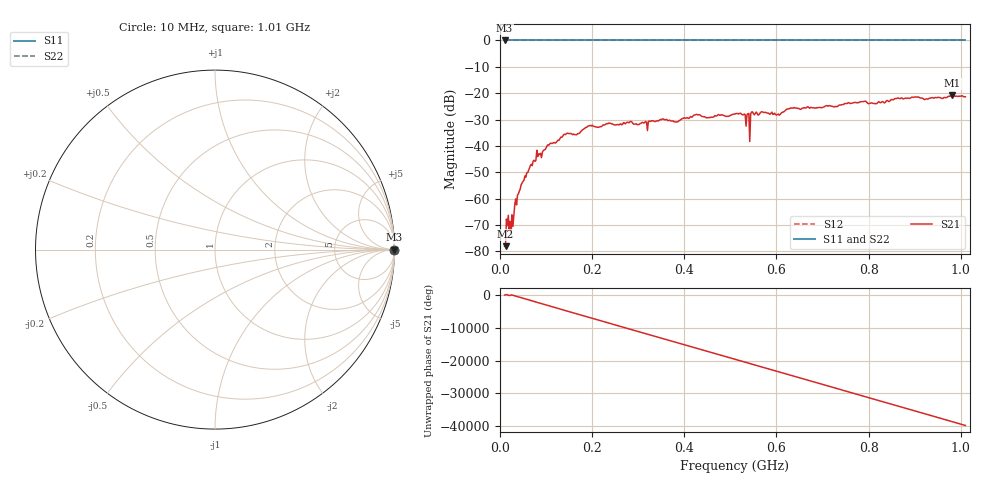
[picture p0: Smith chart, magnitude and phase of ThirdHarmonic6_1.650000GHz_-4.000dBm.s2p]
! 8/16/2025 7:44:59 PM
! C:\ANRITSUVNA\TEMP\TEMP.S2P
! CHANNEL.1
! TR.MEASUREMENT
! RAW.DATA
! RF.CORRECTION.OFF
! AVERAGING.OFF
! IF.BANDWIDTH: 5KHZ
! SWEEPTYPE:  FREQ.SWEEP(Linear)
! Reference Plane Port Info
! PORT:  PORT1  PORT2
! DISTANCE:  0  m  0  m
! TIME:  0  s  0  s
! PHASE.OFFSET:  0  deg.  0  deg.
! LOSS:  0  dB  0  dB
! REF.LOSS:  0  dB  0  dB
! REF.FREQ:  0  Hz  0  Hz
! Power Info
! POWER:  -20  dBm  -20  dBm
! EFF.POWER:  -20  dBm  -20  dBm
! SOURCE.ATTEN:  0  dB  0  dB
! TEST.ATTEN:  0  dB  0  dB
# GHZ S RI R 50.0
! FREQ.GHZ  S11RE  S11IM  S21RE  S21IM  S12RE  S12IM  S22RE  S22IM
!; PortSelection: Port_12
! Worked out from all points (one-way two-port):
!   501 points, 10 MHz to 1.01 GHz, reference 50 ohm
!   highest |S21| = -20.83 dB at 982 MHz (marker M1); lowest = -78.0 dB at 12 MHz (marker M2)
!   lowest |S11| = 0.0 dB at 10 MHz (marker M3)
!   |S11| at or under -10 dB: nowhere
!   |S22| runs from 0.0 to 0.0 dB; largest |S21 - S12| = 1.1
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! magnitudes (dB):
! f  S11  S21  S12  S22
! 10 MHz  0.0  -77.9  0.0  0.0
! 12 MHz  0.0  -78.0  0.0  0.0
! 18 MHz  0.0  -66.3  0.0  0.0
! 26 MHz  0.0  -66.1  0.0  0.0
! 36 MHz  0.0  -62.3  0.0  0.0
! 46 MHz  0.0  -54.6  0.0  0.0
! 76 MHz  0.0  -45.9  0.0  0.0
! 142 MHz  0.0  -35.7  0.0  0.0
! 178 MHz  0.0  -34.1  0.0  0.0
! 196 MHz  0.0  -32.2  0.0  0.0
! 344 MHz  0.0  -30.5  0.0  0.0
! 510 MHz  0.0  -27.9  0.0  0.0
! 536 MHz  0.0  -28.1  0.0  0.0
! 538 MHz  0.0  -27.8  0.0  0.0
! 546 MHz  0.0  -27.1  0.0  0.0
! 548 MHz  0.0  -27.1  0.0  0.0
! 604 MHz  0.0  -27.9  0.0  0.0
! 628 MHz  0.0  -25.9  0.0  0.0
! 678 MHz  0.0  -25.5  0.0  0.0
! 844 MHz  0.0  -23.2  0.0  0.0
! 982 MHz  0.0  -20.8  0.0  0.0
! 1.01 GHz  0.0  -21.4  0.0  0.0
